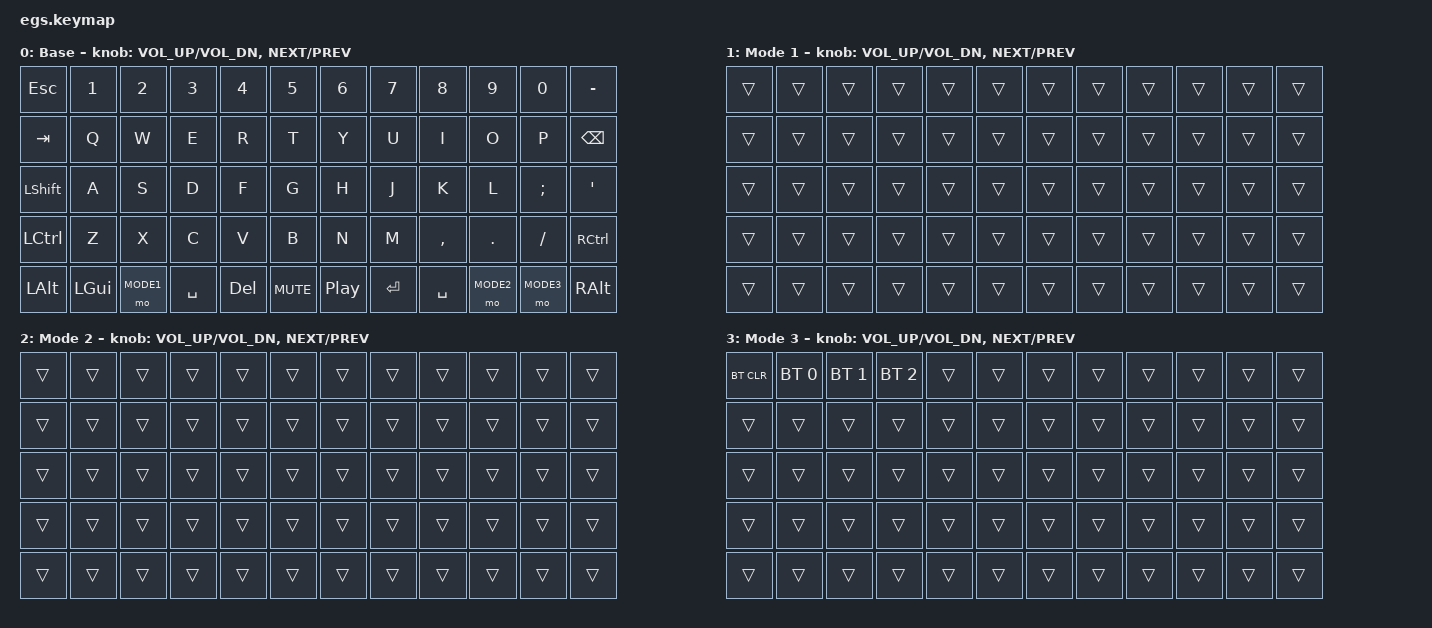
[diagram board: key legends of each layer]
/*
 * Copyright (c) 2026 The EGS_W1 Project Contributor
 * SPDX-License-Identifier: MIT
 *
 * Physical layout reminder (left | right):
 *
 * Row0:  Esc  1    2    3    4    5    |  6    7    8    9    0    -
 * Row1:  Tab  Q    W    E    R    T    |  Y    U    I    O    P    Bsp
 * Row2:  LSft A    S    D    F    G    |  H    J    K    L    ;    '
 * Row3:  LCtl Z    X    C    V    B    |  N    M    ,    .    /    RCtl
 * Row4:  LAlt Win  Mo1  Spc  Del  Mut  |  Pse  Ent  Spc  Mo2  Mo3  RAlt
 *
 * Mut = encoder push (left,  Row4 Col5)
 * Pse = encoder push (right, Row4 Col0 on right MCU = logical Col6)
 *
 * Right-side columns are physically mirrored (Col0 = outermost/rightmost).
 * The matrix_transform maps logical cols 6-11 to right-MCU cols 5-0,
 * so the keymap reads naturally left-to-right.
 */

#include <behaviors.dtsi>
#include <dt-bindings/zmk/keys.h>
#include <dt-bindings/zmk/bt.h>

#define DEFAULT 0
#define MODE1   1
#define MODE2   2
#define MODE3   3

/ {
    keymap {
        compatible = "zmk,keymap";

        /* ================================================================
         * LAYER 0 — DEFAULT BASE
         * ================================================================ */
        default_layer {
            display-name = "Base";
            bindings = <
/*  Row0 */ &kp ESC    &kp N1    &kp N2    &kp N3     &kp N4    &kp N5        &kp N6      &kp N7    &kp N8     &kp N9    &kp N0    &kp MINUS
/*  Row1 */ &kp TAB    &kp Q     &kp W     &kp E      &kp R     &kp T         &kp Y       &kp U     &kp I      &kp O     &kp P     &kp BSPC
/*  Row2 */ &kp LSHFT  &kp A     &kp S     &kp D      &kp F     &kp G         &kp H       &kp J     &kp K      &kp L     &kp SEMI  &kp SQT
/*  Row3 */ &kp LCTRL  &kp Z     &kp X     &kp C      &kp V     &kp B         &kp N       &kp M     &kp COMMA  &kp DOT   &kp FSLH  &kp RCTRL
/*  Row4 */ &kp LALT   &kp LGUI  &mo MODE1 &kp SPACE  &kp DEL   &kp C_MUTE    &kp C_PP    &kp RET   &kp SPACE  &mo MODE2 &mo MODE3 &kp RALT
            >;
            /* Left encoder = volume | Right encoder = media track */
            sensor-bindings = <&inc_dec_kp C_VOL_UP C_VOL_DN &inc_dec_kp C_NEXT C_PREV>;
        };

        /* ================================================================
         * LAYER 1 — MODE1  (fill in bindings as needed)
         * ================================================================ */
        mode1_layer {
            display-name = "Mode 1";
            bindings = <
/*  Row0 */ &trans  &trans  &trans  &trans  &trans  &trans    &trans  &trans  &trans  &trans  &trans  &trans
/*  Row1 */ &trans  &trans  &trans  &trans  &trans  &trans    &trans  &trans  &trans  &trans  &trans  &trans
/*  Row2 */ &trans  &trans  &trans  &trans  &trans  &trans    &trans  &trans  &trans  &trans  &trans  &trans
/*  Row3 */ &trans  &trans  &trans  &trans  &trans  &trans    &trans  &trans  &trans  &trans  &trans  &trans
/*  Row4 */ &trans  &trans  &trans  &trans  &trans  &trans    &trans  &trans  &trans  &trans  &trans  &trans
            >;
            sensor-bindings = <&inc_dec_kp C_VOL_UP C_VOL_DN &inc_dec_kp C_NEXT C_PREV>;
        };

        /* ================================================================
         * LAYER 2 — MODE2  (fill in bindings as needed)
         * ================================================================ */
        mode2_layer {
            display-name = "Mode 2";
            bindings = <
/*  Row0 */ &trans  &trans  &trans  &trans  &trans  &trans    &trans  &trans  &trans  &trans  &trans  &trans
/*  Row1 */ &trans  &trans  &trans  &trans  &trans  &trans    &trans  &trans  &trans  &trans  &trans  &trans
/*  Row2 */ &trans  &trans  &trans  &trans  &trans  &trans    &trans  &trans  &trans  &trans  &trans  &trans
/*  Row3 */ &trans  &trans  &trans  &trans  &trans  &trans    &trans  &trans  &trans  &trans  &trans  &trans
/*  Row4 */ &trans  &trans  &trans  &trans  &trans  &trans    &trans  &trans  &trans  &trans  &trans  &trans
            >;
            sensor-bindings = <&inc_dec_kp C_VOL_UP C_VOL_DN &inc_dec_kp C_NEXT C_PREV>;
        };

        /* ================================================================
         * LAYER 3 — MODE3  (BT profiles + fill in as needed)
         * ================================================================ */
        mode3_layer {
            display-name = "Mode 3";
            bindings = <
/*  Row0 */ &bt BT_CLR  &bt BT_SEL 0  &bt BT_SEL 1  &bt BT_SEL 2  &trans  &trans    &trans  &trans  &trans  &trans  &trans  &trans
/*  Row1 */ &trans      &trans        &trans        &trans        &trans  &trans    &trans  &trans  &trans  &trans  &trans  &trans
/*  Row2 */ &trans      &trans        &trans        &trans        &trans  &trans    &trans  &trans  &trans  &trans  &trans  &trans
/*  Row3 */ &trans      &trans        &trans        &trans        &trans  &trans    &trans  &trans  &trans  &trans  &trans  &trans
/*  Row4 */ &trans      &trans        &trans        &trans        &trans  &trans    &trans  &trans  &trans  &trans  &trans  &trans
            >;
            sensor-bindings = <&inc_dec_kp C_VOL_UP C_VOL_DN &inc_dec_kp C_NEXT C_PREV>;
        };
    };
};
